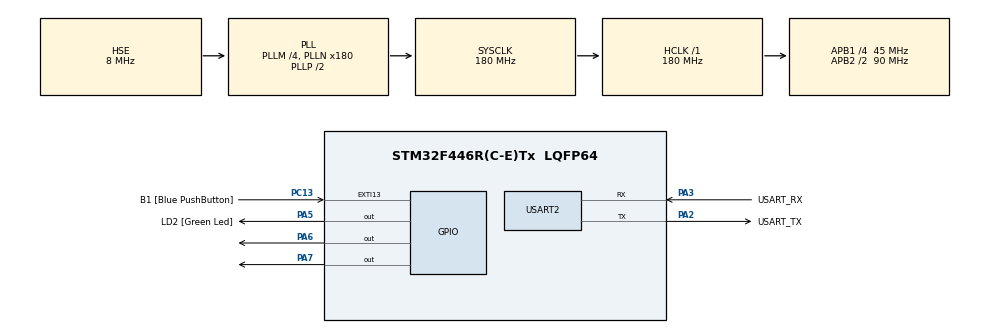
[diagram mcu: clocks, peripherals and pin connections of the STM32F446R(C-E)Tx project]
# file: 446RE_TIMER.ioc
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Mcu.Family=STM32F4
Mcu.Name=STM32F446R(C-E)Tx
Mcu.Package=LQFP64
NVIC.PriorityGroup=NVIC_PRIORITYGROUP_0
NVIC.RCC_IRQn=true\:0\:0\:false\:false\:true
NVIC.TIM2_IRQn=true\:0\:0\:false\:false\:true
NVIC.TIM3_IRQn=true\:0\:0\:false\:false\:true
NVIC.TIM4_IRQn=true\:0\:0\:false\:false\:true
NVIC.USART2_IRQn=true\:0\:0\:false\:false\:true
PA13.GPIO_Label=TMS
PA13.Signal=SYS_JTMS-SWDIO
PA14.GPIO_Label=TCK
PA14.Signal=SYS_JTCK-SWCLK
PA2.GPIO_Label=USART_TX
PA2.Mode=Asynchronous
PA2.Signal=USART2_TX
PA3.GPIO_Label=USART_RX
PA3.Mode=Asynchronous
PA3.Signal=USART2_RX
PA5.GPIO_Label=LD2 [Green Led]
PA5.Signal=GPIO_Output
PA6.Signal=GPIO_Output
PA7.Signal=GPIO_Output
PB3.GPIO_Label=SWO
PB3.Signal=SYS_JTDO-SWO
PC13.GPIO_Label=B1 [Blue PushButton]
PC13.GPIO_ModeDefaultEXTI=GPIO_MODE_EVT_RISING
PC13.Signal=GPXTI13
PC14-OSC32_IN.Signal=RCC_OSC32_IN
PC15-OSC32_OUT.Signal=RCC_OSC32_OUT
PH0-OSC_IN.Mode=HSE-External-Oscillator
PH0-OSC_IN.Signal=RCC_OSC_IN
PH1-OSC_OUT.Mode=HSE-External-Oscillator
PH1-OSC_OUT.Signal=RCC_OSC_OUT
ProjectManager.HeapSize=0x200
ProjectManager.StackSize=0x400
ProjectManager.TargetToolchain=TrueSTUDIO
RCC.AHBFreq_Value=180000000
RCC.APB1CLKDivider=RCC_HCLK_DIV4
RCC.APB1Freq_Value=45000000
RCC.APB1TimFreq_Value=90000000
RCC.APB2CLKDivider=RCC_HCLK_DIV2
RCC.APB2Freq_Value=90000000
RCC.APB2TimFreq_Value=180000000
RCC.CortexFreq_Value=180000000
RCC.FLatency-AdvancedSettings=FLASH_LATENCY_5
RCC.HCLKFreq_Value=180000000
RCC.HSE_VALUE=8000000
RCC.HSI_VALUE=16000000
RCC.LSE_VALUE=32768
RCC.PLLM=4
RCC.PLLN=180
RCC.PLLSourceVirtual=RCC_PLLSOURCE_HSE
RCC.SYSCLKFreq_VALUE=180000000
RCC.SYSCLKSource=RCC_SYSCLKSOURCE_PLLCLK
RCC.USBFreq_Value=180000000
RCC.VCOOutputFreq_Value=360000000
TIM2.Period=10000
TIM2.Prescaler=9000
TIM3.Period=5000
TIM3.Prescaler=9000
TIM4.Period=3000
TIM4.Prescaler=9000
VP_TIM2_VS_ClockSourceINT.Mode=Internal
VP_TIM3_VS_ClockSourceINT.Mode=Internal
VP_TIM4_VS_ClockSourceINT.Mode=Internal
board=NUCLEO-F446RE

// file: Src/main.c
/**
  ******************************************************************************
  * File Name          : main.c
  * Description        : Main program body
  ******************************************************************************
  *
  * COPYRIGHT(c) 2016 STMicroelectronics
  *
  * Redistribution and use in source and binary forms, with or without modification,
  * are permitted provided that the following conditions are met:
  *   1. Redistributions of source code must retain the above copyright notice,
  *      this list of conditions and the following disclaimer.
  *   2. Redistributions in binary form must reproduce the above copyright notice,
  *      this list of conditions and the following disclaimer in the documentation
  *      and/or other materials provided with the distribution.
  *   3. Neither the name of STMicroelectronics nor the names of its contributors
  *      may be used to endorse or promote products derived from this software
  *      without specific prior written permission.
  *
  * THIS SOFTWARE IS PROVIDED BY THE COPYRIGHT HOLDERS AND CONTRIBUTORS "AS IS"
  * AND ANY EXPRESS OR IMPLIED WARRANTIES, INCLUDING, BUT NOT LIMITED TO, THE
  * IMPLIED WARRANTIES OF MERCHANTABILITY AND FITNESS FOR A PARTICULAR PURPOSE ARE
  * DISCLAIMED. IN NO EVENT SHALL THE COPYRIGHT HOLDER OR CONTRIBUTORS BE LIABLE
  * FOR ANY DIRECT, INDIRECT, INCIDENTAL, SPECIAL, EXEMPLARY, OR CONSEQUENTIAL
  * DAMAGES (INCLUDING, BUT NOT LIMITED TO, PROCUREMENT OF SUBSTITUTE GOODS OR
  * SERVICES; LOSS OF USE, DATA, OR PROFITS; OR BUSINESS INTERRUPTION) HOWEVER
  * CAUSED AND ON ANY THEORY OF LIABILITY, WHETHER IN CONTRACT, STRICT LIABILITY,
  * OR TORT (INCLUDING NEGLIGENCE OR OTHERWISE) ARISING IN ANY WAY OUT OF THE USE
  * OF THIS SOFTWARE, EVEN IF ADVISED OF THE POSSIBILITY OF SUCH DAMAGE.
  *
  ******************************************************************************
  */
#include "stm32f4xx_hal.h"
#include <stdio.h>
#include <stdint.h>
#include <math.h>

TIM_HandleTypeDef htim2;
TIM_HandleTypeDef htim3;
TIM_HandleTypeDef htim4;

UART_HandleTypeDef huart2;

/* USER CODE BEGIN PV */
/* Private variables ---------------------------------------------------------*/
uint8_t RX_Data2[2];    // unsigned char
/* USER CODE END PV */

void SystemClock_Config(void);
static void MX_GPIO_Init(void);
static void MX_TIM2_Init(void);
static void MX_TIM3_Init(void);
static void MX_TIM4_Init(void);
static void MX_USART2_UART_Init(void);

/* USER CODE BEGIN PFP */
/* Private function prototypes -----------------------------------------------*/
void	HAL_TIM_PeriodElapsedCallback(TIM_HandleTypeDef *htim);
/* USER CODE END PFP */

/* USER CODE BEGIN 0 */
void	HAL_TIM_PeriodElapsedCallback(TIM_HandleTypeDef *htim)
{
	if(htim->Instance==TIM2)
	{
		HAL_GPIO_TogglePin(GPIOA,GPIO_PIN_5);
	}
	else if(htim->Instance==TIM3)
	{
		HAL_GPIO_TogglePin(GPIOA,GPIO_PIN_6);
	}
	else if(htim->Instance==TIM4)
	{
		HAL_GPIO_TogglePin(GPIOA,GPIO_PIN_7);
	}
}

/* USER CODE END 0 */

int main(void)
{

  /* USER CODE BEGIN 1 */
	char    s[20];
	double  d;
	uint16_t  n=0;
  /* USER CODE END 1 */

  /* MCU Configuration----------------------------------------------------------*/

  /* Reset of all peripherals, Initializes the Flash interface and the Systick. */
  HAL_Init();

  /* Configure the system clock */
  SystemClock_Config();

  /* Initialize all configured peripherals */
  MX_GPIO_Init();
  MX_TIM2_Init();
  MX_TIM3_Init();
  MX_TIM4_Init();
  MX_USART2_UART_Init();

  /* USER CODE BEGIN 2 */
  while(HAL_TIM_Base_Start_IT(&htim2)!=HAL_OK);
  while(HAL_TIM_Base_Start_IT(&htim3)!=HAL_OK);
  while(HAL_TIM_Base_Start_IT(&htim4)!=HAL_OK);

  while(HAL_UART_Receive_IT(&huart2,RX_Data2, 1)!=HAL_OK);
  /* USER CODE END 2 */

  /* Infinite loop */
  /* USER CODE BEGIN WHILE */
  HAL_UART_Transmit(&huart2, (uint8_t *)"Start~!!\r\n",10,1000 );
  while (1)
  {
  /* USER CODE END WHILE */

  /* USER CODE BEGIN 3 */
	  d = sin(n*3.141592/180.0);
	  sprintf(s,"%04d = %10.5lf\r\n",n,d);
	  HAL_UART_Transmit(&huart2, (uint8_t *)s,19,1000 );
	  n++;
	  if(n>=999) n = 0;
	  HAL_Delay(100);
  }
  /* USER CODE END 3 */

}

/** System Clock Configuration
*/
void SystemClock_Config(void)
{

  RCC_OscInitTypeDef RCC_OscInitStruct;
  RCC_ClkInitTypeDef RCC_ClkInitStruct;

  __HAL_RCC_PWR_CLK_ENABLE();

  __HAL_PWR_VOLTAGESCALING_CONFIG(PWR_REGULATOR_VOLTAGE_SCALE1);

  RCC_OscInitStruct.OscillatorType = RCC_OSCILLATORTYPE_HSE;
  RCC_OscInitStruct.HSEState = RCC_HSE_ON;
  RCC_OscInitStruct.PLL.PLLState = RCC_PLL_ON;
  RCC_OscInitStruct.PLL.PLLSource = RCC_PLLSOURCE_HSE;
  RCC_OscInitStruct.PLL.PLLM = 4;
  RCC_OscInitStruct.PLL.PLLN = 180;
  RCC_OscInitStruct.PLL.PLLP = RCC_PLLP_DIV2;
  RCC_OscInitStruct.PLL.PLLQ = 2;
  RCC_OscInitStruct.PLL.PLLR = 2;
  HAL_RCC_OscConfig(&RCC_OscInitStruct);

  HAL_PWREx_EnableOverDrive();

  RCC_ClkInitStruct.ClockType = RCC_CLOCKTYPE_HCLK|RCC_CLOCKTYPE_SYSCLK
                              |RCC_CLOCKTYPE_PCLK1|RCC_CLOCKTYPE_PCLK2;
  RCC_ClkInitStruct.SYSCLKSource = RCC_SYSCLKSOURCE_PLLCLK;
  RCC_ClkInitStruct.AHBCLKDivider = RCC_SYSCLK_DIV1;
  RCC_ClkInitStruct.APB1CLKDivider = RCC_HCLK_DIV4;
  RCC_ClkInitStruct.APB2CLKDivider = RCC_HCLK_DIV2;
  HAL_RCC_ClockConfig(&RCC_ClkInitStruct, FLASH_LATENCY_5);

  HAL_SYSTICK_Config(HAL_RCC_GetHCLKFreq()/1000);

  HAL_SYSTICK_CLKSourceConfig(SYSTICK_CLKSOURCE_HCLK);

  /* SysTick_IRQn interrupt configuration */
  HAL_NVIC_SetPriority(SysTick_IRQn, 0, 0);
}

/* TIM2 init function */
void MX_TIM2_Init(void)
{

  TIM_ClockConfigTypeDef sClockSourceConfig;
  TIM_MasterConfigTypeDef sMasterConfig;

  htim2.Instance = TIM2;
  htim2.Init.Prescaler = 9000;
  htim2.Init.CounterMode = TIM_COUNTERMODE_UP;
  htim2.Init.Period = 10000;
  htim2.Init.ClockDivision = TIM_CLOCKDIVISION_DIV1;
  HAL_TIM_Base_Init(&htim2);

  sClockSourceConfig.ClockSource = TIM_CLOCKSOURCE_INTERNAL;
  HAL_TIM_ConfigClockSource(&htim2, &sClockSourceConfig);

  sMasterConfig.MasterOutputTrigger = TIM_TRGO_RESET;
  sMasterConfig.MasterSlaveMode = TIM_MASTERSLAVEMODE_DISABLE;
  HAL_TIMEx_MasterConfigSynchronization(&htim2, &sMasterConfig);

}

/* TIM3 init function */
void MX_TIM3_Init(void)
{

  TIM_ClockConfigTypeDef sClockSourceConfig;
  TIM_MasterConfigTypeDef sMasterConfig;

  htim3.Instance = TIM3;
  htim3.Init.Prescaler = 9000;
  htim3.Init.CounterMode = TIM_COUNTERMODE_UP;
  htim3.Init.Period = 5000;
  htim3.Init.ClockDivision = TIM_CLOCKDIVISION_DIV1;
  HAL_TIM_Base_Init(&htim3);

  sClockSourceConfig.ClockSource = TIM_CLOCKSOURCE_INTERNAL;
  HAL_TIM_ConfigClockSource(&htim3, &sClockSourceConfig);

  sMasterConfig.MasterOutputTrigger = TIM_TRGO_RESET;
  sMasterConfig.MasterSlaveMode = TIM_MASTERSLAVEMODE_DISABLE;
  HAL_TIMEx_MasterConfigSynchronization(&htim3, &sMasterConfig);

}

/* TIM4 init function */
void MX_TIM4_Init(void)
{

  TIM_ClockConfigTypeDef sClockSourceConfig;
  TIM_MasterConfigTypeDef sMasterConfig;

  htim4.Instance = TIM4;
  htim4.Init.Prescaler = 9000;
  htim4.Init.CounterMode = TIM_COUNTERMODE_UP;
  htim4.Init.Period = 3000;
  htim4.Init.ClockDivision = TIM_CLOCKDIVISION_DIV1;
  HAL_TIM_Base_Init(&htim4);

  sClockSourceConfig.ClockSource = TIM_CLOCKSOURCE_INTERNAL;
  HAL_TIM_ConfigClockSource(&htim4, &sClockSourceConfig);

  sMasterConfig.MasterOutputTrigger = TIM_TRGO_RESET;
  sMasterConfig.MasterSlaveMode = TIM_MASTERSLAVEMODE_DISABLE;
  HAL_TIMEx_MasterConfigSynchronization(&htim4, &sMasterConfig);

}

/* USART2 init function */
void MX_USART2_UART_Init(void)
{

  huart2.Instance = USART2;
  huart2.Init.BaudRate = 115200;
  huart2.Init.WordLength = UART_WORDLENGTH_8B;
  huart2.Init.StopBits = UART_STOPBITS_1;
  huart2.Init.Parity = UART_PARITY_NONE;
  huart2.Init.Mode = UART_MODE_TX_RX;
  huart2.Init.HwFlowCtl = UART_HWCONTROL_NONE;
  huart2.Init.OverSampling = UART_OVERSAMPLING_16;
  HAL_UART_Init(&huart2);

}

/** Configure pins as
        * Analog
        * Input
        * Output
        * EVENT_OUT
        * EXTI
*/
void MX_GPIO_Init(void)
{

  GPIO_InitTypeDef GPIO_InitStruct;

  /* GPIO Ports Clock Enable */
  __HAL_RCC_GPIOC_CLK_ENABLE();
  __HAL_RCC_GPIOH_CLK_ENABLE();
  __HAL_RCC_GPIOA_CLK_ENABLE();
  __HAL_RCC_GPIOB_CLK_ENABLE();

  /*Configure GPIO pin : B1_Pin */
  GPIO_InitStruct.Pin = B1_Pin;
  GPIO_InitStruct.Mode = GPIO_MODE_EVT_RISING;
  GPIO_InitStruct.Pull = GPIO_NOPULL;
  HAL_GPIO_Init(B1_GPIO_Port, &GPIO_InitStruct);

  /*Configure GPIO pins : LD2_Pin PA6 PA7 */
  GPIO_InitStruct.Pin = LD2_Pin|GPIO_PIN_6|GPIO_PIN_7;
  GPIO_InitStruct.Mode = GPIO_MODE_OUTPUT_PP;
  GPIO_InitStruct.Pull = GPIO_NOPULL;
  GPIO_InitStruct.Speed = GPIO_SPEED_FREQ_LOW;
  HAL_GPIO_Init(GPIOA, &GPIO_InitStruct);

  /*Configure GPIO pin Output Level */
  HAL_GPIO_WritePin(GPIOA, LD2_Pin|GPIO_PIN_6|GPIO_PIN_7, GPIO_PIN_RESET);

}

/************************ (C) COPYRIGHT STMicroelectronics *****END OF FILE****/
